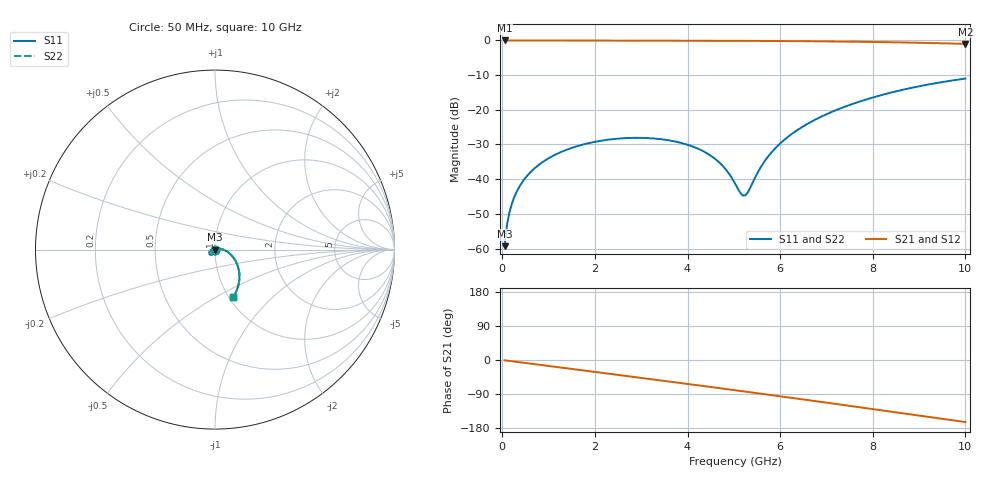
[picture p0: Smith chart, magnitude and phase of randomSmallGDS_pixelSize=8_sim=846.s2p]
! freq	dB(S11)	phase(S11)	dB(S12)	phase(S12)
!  dB(S21)	phase(S21)	dB(S22)	phase(S22)
!S-par simulation data
#  GHz  S  DB  R 50
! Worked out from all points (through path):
!   200 points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, 50 MHz to 10 GHz, reference 50 ohm
!   highest |S21| = 0.00 dB at 50 MHz (marker M1); lowest = -1.0 dB at 10 GHz (marker M2)
!   group delay of S21, straight-line fit = 45.4 ps
!   lowest |S11| = -59.3 dB at 50 MHz (marker M3), VSWR 1.00, Z = 50 - j0.108 ohm
!   |S11| at or under -10 dB: start of sweep to end of sweep
!   |S22| runs from -59.3 to -11.0 dB; largest |S21 - S12| = 0
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0.05  -59.32 -90.1  -0.00 -0.8  -0.00 -0.8  -59.32 -90.0
0.1  -53.32 -91.7  -0.00 -1.6  -0.00 -1.6  -53.32 -91.7
0.2  -47.36 -94.0  -0.00 -3.2  -0.00 -3.2  -47.37 -94.0
0.35  -42.61 -96.8  -0.00 -5.5  -0.00 -5.5  -42.61 -96.8
0.5  -39.62 -99.3  -0.01 -7.9  -0.01 -7.9  -39.62 -99.3
1  -33.97 -107.5  -0.02 -15.8  -0.02 -15.8  -33.97 -107.5
1.75  -29.99 -119.8  -0.03 -27.5  -0.03 -27.5  -29.99 -119.8
2.55  -28.26 -133.1  -0.05 -40.1  -0.05 -40.1  -28.26 -133.2
3.4  -28.43 -148.0  -0.06 -53.6  -0.06 -53.6  -28.43 -148.1
4  -30.07 -159.8  -0.08 -63.2  -0.08 -63.2  -30.07 -160.0
4.45  -32.78 -171.2  -0.09 -70.4  -0.09 -70.4  -32.77 -171.5
4.8  -36.78 174.1  -0.10 -76.0  -0.10 -76.0  -36.75 173.7
5.05  -41.84 148.3  -0.11 -80.1  -0.11 -80.1  -41.75 147.6
5.15  -44.13 124.3  -0.12 -81.7  -0.12 -81.7  -43.96 123.7
5.25  -44.65 89.4  -0.12 -83.4  -0.12 -83.4  -44.45 89.5
5.6  -36.14 25.6  -0.14 -89.1  -0.14 -89.1  -36.10 26.1
5.85  -31.73 12.6  -0.16 -93.3  -0.16 -93.3  -31.71 12.9
6.2  -27.47 1.7  -0.18 -99.1  -0.18 -99.1  -27.46 2.0
6.7  -23.24 -9.7  -0.23 -107.5  -0.23 -107.5  -23.23 -9.5
7.45  -18.84 -24.3  -0.33 -120.2  -0.33 -120.2  -18.84 -24.1
8.35  -15.18 -40.5  -0.51 -135.5  -0.51 -135.5  -15.18 -40.4
10  -10.99 -68.9  -0.98 -163.7  -0.98 -163.7  -10.99 -68.8
